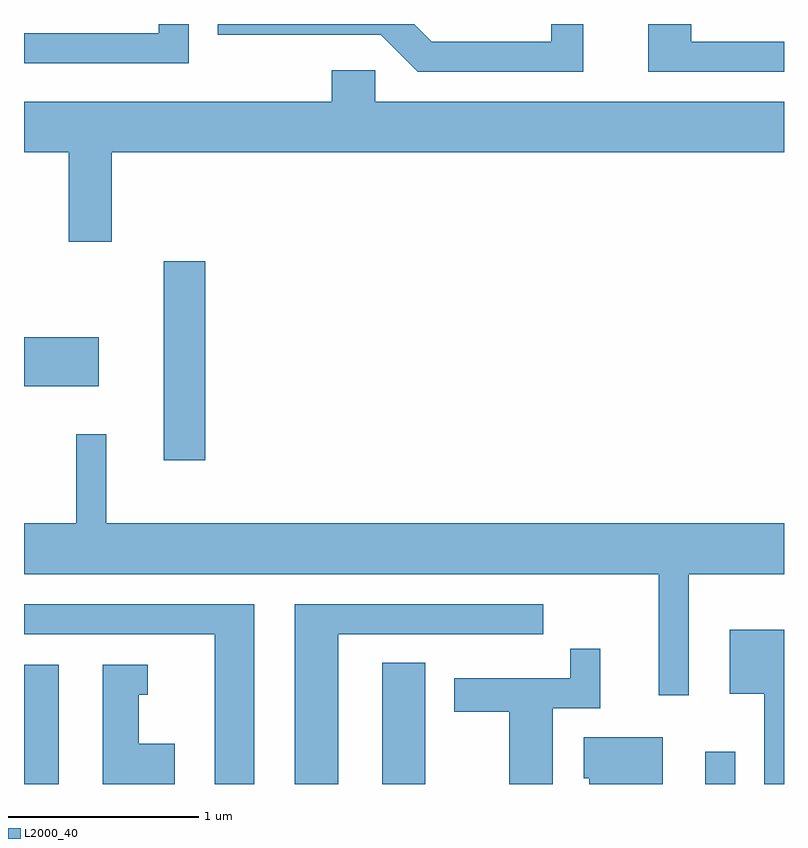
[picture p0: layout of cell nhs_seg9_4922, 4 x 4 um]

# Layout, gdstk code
import gdstk
lib = gdstk.Library(unit=1e-6, precision=1e-09)
def R(c, l, rs):  # rectangles x0, y0, x1, y1
    for r in rs: c.add(gdstk.rectangle(r[:2], r[2:], *l))
def P(c, l, *ps):  # polygons
    for p in ps: c.add(gdstk.Polygon(p, *l))
L2000_40 = (2000, 40)

nhs_seg9_4922 = lib.new_cell('nhs_seg9_4922')
R(nhs_seg9_4922, L2000_40, [(329.611,2048.432,329.794,2049.059), (331.496,2048.432,331.724,2049.069), (333.196,2048.432,333.354,2048.603), (330.346,2050.136,330.564,2051.184), (329.611,2050.526,330.004,2050.784)])
P(nhs_seg9_4922, L2000_40, [(332.554,2052.432),(332.386,2052.432),(332.386,2052.339),(331.757,2052.339),(331.664,2052.432),(330.631,2052.432),(330.631,2052.376),(331.489,2052.376),(331.684,2052.181),(332.554,2052.181)],
  [(330.479,2052.432),(330.321,2052.432),(330.321,2052.384),(329.611,2052.384),(329.611,2052.226),(330.479,2052.226)],
  [(333.611,2052.339),(333.124,2052.339),(333.124,2052.432),(332.896,2052.432),(332.896,2052.181),(333.611,2052.181)],
  [(330.074,2051.756),(333.611,2051.756),(333.611,2052.024),(331.459,2052.024),(331.459,2052.189),(331.231,2052.189),(331.231,2052.024),(329.611,2052.024),(329.611,2051.756),(329.846,2051.756),(329.846,2051.286),(330.074,2051.286)],
  [(333.109,2049.536),(333.611,2049.536),(333.611,2049.804),(330.044,2049.804),(330.044,2050.273),(329.886,2050.273),(329.886,2049.804),(329.611,2049.804),(329.611,2049.536),(332.951,2049.536),(332.951,2048.898),(333.109,2048.898)],
  [(331.264,2049.221),(332.343,2049.221),(332.343,2049.379),(331.036,2049.379),(331.036,2048.432),(331.264,2048.432)],
  [(330.824,2049.379),(329.611,2049.379),(329.611,2049.221),(330.616,2049.221),(330.616,2048.432),(330.824,2048.432)],
  [(333.611,2049.244),(333.326,2049.244),(333.326,2048.906),(333.506,2048.906),(333.506,2048.432),(333.611,2048.432)],
  [(332.394,2048.831),(332.644,2048.831),(332.644,2049.143),(332.486,2049.143),(332.486,2048.989),(331.876,2048.989),(331.876,2048.811),(332.166,2048.811),(332.166,2048.432),(332.394,2048.432)],
  [(330.404,2048.644),(330.214,2048.644),(330.214,2048.901),(330.263,2048.901),(330.263,2049.059),(330.026,2049.059),(330.026,2048.432),(330.404,2048.432)],
  [(332.974,2048.679),(332.556,2048.679),(332.556,2048.461),(332.586,2048.461),(332.586,2048.432),(332.974,2048.432)])

lib.write_gds('nhs_seg9_4922.gds')
